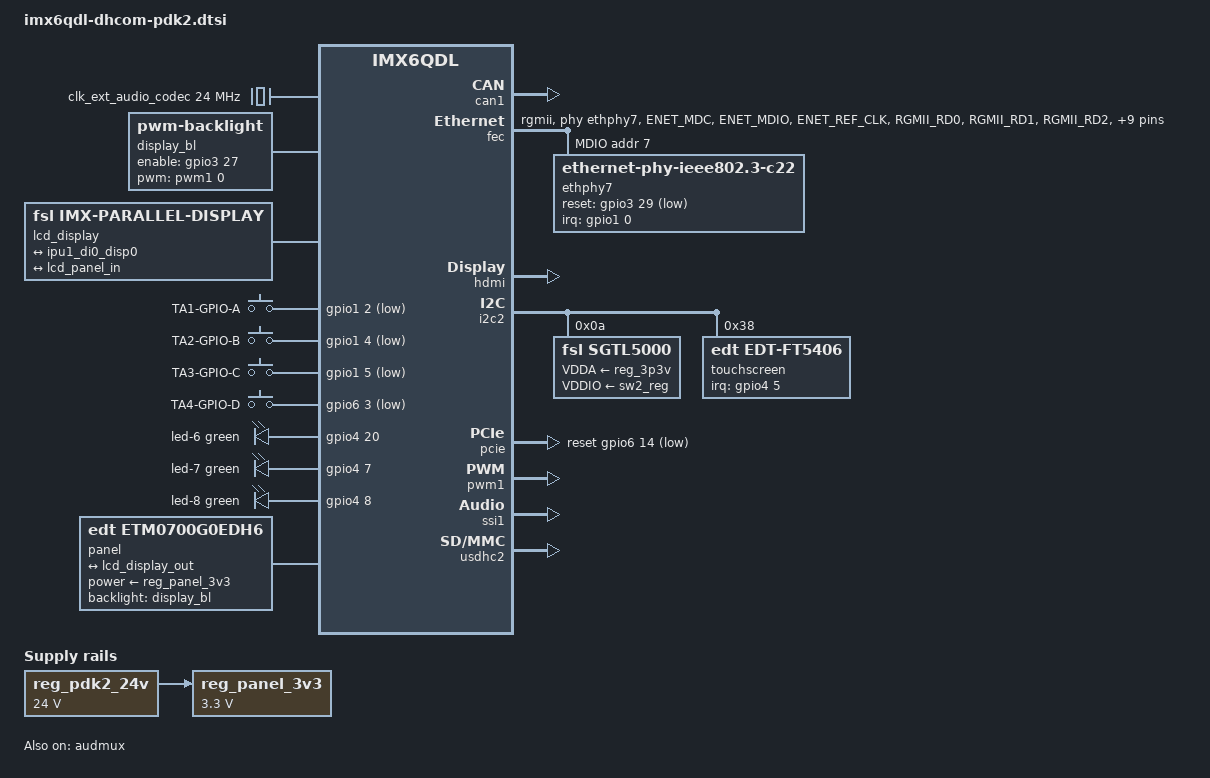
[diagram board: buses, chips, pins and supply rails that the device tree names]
// SPDX-License-Identifier: GPL-2.0+
/*
 * Copyright (C) 2015-2021 DH electronics GmbH
 * Copyright (C) 2018 Marek Vasut <marex@denx.de>
 */

#include <dt-bindings/gpio/gpio.h>
#include <dt-bindings/input/input.h>
#include <dt-bindings/leds/common.h>
#include <dt-bindings/pwm/pwm.h>

/ {
	chosen {
		stdout-path = "serial0:115200n8";
	};

	clk_ext_audio_codec: clock-codec {
		#clock-cells = <0>;
		clock-frequency = <24000000>;
		compatible = "fixed-clock";
	};

	display_bl: display-bl {
		brightness-levels = <0 16 22 30 40 55 75 102 138 188 255>;
		compatible = "pwm-backlight";
		default-brightness-level = <8>;
		enable-gpios = <&gpio3 27 GPIO_ACTIVE_HIGH>; /* GPIO G */
		pwms = <&pwm1 0 50000 PWM_POLARITY_INVERTED>;
		status = "okay";
	};

	lcd_display: disp0 {
		#address-cells = <1>;
		#size-cells = <0>;
		compatible = "fsl,imx-parallel-display";
		interface-pix-fmt = "rgb24";
		pinctrl-0 = <&pinctrl_ipu1_lcdif &pinctrl_dhcom_g>;
		pinctrl-names = "default";
		status = "okay";

		port@0 {
			reg = <0>;

			lcd_display_in: endpoint {
				remote-endpoint = <&ipu1_di0_disp0>;
			};
		};

		port@1 {
			reg = <1>;

			lcd_display_out: endpoint {
				remote-endpoint = <&lcd_panel_in>;
			};
		};
	};

	gpio-keys {
		compatible = "gpio-keys";

		button-0 {
			gpios = <&gpio1 2 GPIO_ACTIVE_LOW>; /* GPIO A */
			label = "TA1-GPIO-A";
			linux,code = <KEY_A>;
			pinctrl-0 = <&pinctrl_dhcom_a>;
			pinctrl-names = "default";
			wakeup-source;
		};

		button-1 {
			gpios = <&gpio1 4 GPIO_ACTIVE_LOW>; /* GPIO B */
			label = "TA2-GPIO-B";
			linux,code = <KEY_B>;
			pinctrl-0 = <&pinctrl_dhcom_b>;
			pinctrl-names = "default";
			wakeup-source;
		};

		button-2 {
			gpios = <&gpio1 5 GPIO_ACTIVE_LOW>; /* GPIO C */
			label = "TA3-GPIO-C";
			linux,code = <KEY_C>;
			pinctrl-0 = <&pinctrl_dhcom_c>;
			pinctrl-names = "default";
			wakeup-source;
		};

		button-3 {
			gpios = <&gpio6 3 GPIO_ACTIVE_LOW>; /* GPIO D */
			label = "TA4-GPIO-D";
			linux,code = <KEY_D>;
			pinctrl-0 = <&pinctrl_dhcom_d>;
			pinctrl-names = "default";
			wakeup-source;
		};
	};

	led {
		compatible = "gpio-leds";

		/*
		 * Disable led-5, because GPIO E is
		 * already used as touch interrupt.
		 */
		led-5 {
			color = <LED_COLOR_ID_GREEN>;
			default-state = "off";
			function = LED_FUNCTION_INDICATOR;
			gpios = <&gpio4 5 GPIO_ACTIVE_HIGH>; /* GPIO E */
			pinctrl-0 = <&pinctrl_dhcom_e>;
			pinctrl-names = "default";
			status = "disabled";
		};

		led-6 {
			color = <LED_COLOR_ID_GREEN>;
			default-state = "off";
			function = LED_FUNCTION_INDICATOR;
			gpios = <&gpio4 20 GPIO_ACTIVE_HIGH>; /* GPIO F */
			pinctrl-0 = <&pinctrl_dhcom_f>;
			pinctrl-names = "default";
		};

		led-7 {
			color = <LED_COLOR_ID_GREEN>;
			default-state = "off";
			function = LED_FUNCTION_INDICATOR;
			gpios = <&gpio4 7 GPIO_ACTIVE_HIGH>; /* GPIO H */
			pinctrl-0 = <&pinctrl_dhcom_h>;
			pinctrl-names = "default";
		};

		led-8 {
			color = <LED_COLOR_ID_GREEN>;
			default-state = "off";
			function = LED_FUNCTION_INDICATOR;
			gpios = <&gpio4 8 GPIO_ACTIVE_HIGH>; /* GPIO I */
			pinctrl-0 = <&pinctrl_dhcom_i>;
			pinctrl-names = "default";
		};
	};

	panel {
		backlight = <&display_bl>;
		compatible = "edt,etm0700g0edh6";
		power-supply = <&reg_panel_3v3>;

		port {
			lcd_panel_in: endpoint {
				remote-endpoint = <&lcd_display_out>;
			};
		};
	};

	/* Filtered supply voltage */
	reg_pdk2_24v: regulator-pdk2-24v {
		compatible = "regulator-fixed";
		regulator-always-on;
		regulator-max-microvolt = <24000000>;
		regulator-min-microvolt = <24000000>;
		regulator-name = "24V_PDK2";
	};

	/* 560-200 U1 */
	reg_panel_3v3: regulator-panel-3v3 {
		compatible = "regulator-fixed";
		regulator-always-on;
		regulator-min-microvolt = <3300000>;
		regulator-max-microvolt = <3300000>;
		regulator-name = "3V3_PANEL";
		vin-supply = <&reg_pdk2_24v>;
	};

	sound {
		audio-codec = <&sgtl5000>;
		audio-routing =
			"MIC_IN", "Mic Jack",
			"Mic Jack", "Mic Bias",
			"LINE_IN", "Line In Jack",
			"Headphone Jack", "HP_OUT";
		compatible = "fsl,imx-audio-sgtl5000";
		model = "imx-sgtl5000";
		mux-ext-port = <3>;
		mux-int-port = <1>;
		ssi-controller = <&ssi1>;
	};
};

&audmux {
	pinctrl-0 = <&pinctrl_audmux_ext>;
	pinctrl-names = "default";
	status = "okay";
};

&can1 {
	status = "okay";
};

&can2 {
	status = "disabled";
};

/* 1G ethernet */
/delete-node/ &ethphy0;
&fec {
	phy-mode = "rgmii";
	phy-handle = <&ethphy7>;
	pinctrl-0 = <&pinctrl_enet_1G>;
	pinctrl-names = "default";
	status = "okay";

	mdio {
		#address-cells = <1>;
		#size-cells = <0>;

		ethphy7: ethernet-phy@7 { /* KSZ 9021 */
			compatible = "ethernet-phy-ieee802.3-c22";
			interrupt-parent = <&gpio1>;
			interrupts = <0 IRQ_TYPE_LEVEL_LOW>;
			pinctrl-0 = <&pinctrl_ethphy7>;
			pinctrl-names = "default";
			reg = <7>;
			reset-assert-us = <1000>;
			reset-deassert-us = <1000>;
			reset-gpios = <&gpio3 29 GPIO_ACTIVE_LOW>;
			rxc-skew-ps = <3000>;
			rxd0-skew-ps = <0>;
			rxd1-skew-ps = <0>;
			rxd2-skew-ps = <0>;
			rxd3-skew-ps = <0>;
			rxdv-skew-ps = <0>;
			txc-skew-ps = <3000>;
			txd0-skew-ps = <0>;
			txd1-skew-ps = <0>;
			txd2-skew-ps = <0>;
			txd3-skew-ps = <0>;
			txen-skew-ps = <0>;
		};
	};
};

&hdmi {
	ddc-i2c-bus = <&i2c2>;
	status = "okay";
};

&i2c2 {
	sgtl5000: codec@a {
		#sound-dai-cells = <0>;
		clocks = <&clk_ext_audio_codec>;
		compatible = "fsl,sgtl5000";
		reg = <0x0a>;
		VDDA-supply = <&reg_3p3v>;
		VDDIO-supply = <&sw2_reg>;
	};

	touchscreen@38 {
		compatible = "edt,edt-ft5406";
		interrupt-parent = <&gpio4>;
		interrupts = <5 IRQ_TYPE_EDGE_FALLING>; /* GPIO E */
		pinctrl-0 = <&pinctrl_dhcom_e>;
		pinctrl-names = "default";
		reg = <0x38>;
	};
};

&ipu1_di0_disp0 {
	remote-endpoint = <&lcd_display_in>;
};

&pcie {
	pinctrl-0 = <&pinctrl_pcie &pinctrl_dhcom_j>;
	reset-gpio = <&gpio6 14 GPIO_ACTIVE_LOW>; /* GPIO J */
	status = "okay";
};

&pwm1 {
	status = "okay";
};

&ssi1 {
	status = "okay";
};

&usbh1 {
	disable-over-current;
};

&usdhc2 { /* SD card */
	status = "okay";
};

&iomuxc {
	pinctrl-0 = <
			/*
			 * The following DHCOM GPIOs are used on this board.
			 * Therefore, they have been removed from the list below.
			 * A: key TA1
			 * B: key TA2
			 * C: key TA3
			 * D: key TA4
			 * E: touchscreen
			 * F: led6
			 * G: backlight enable
			 * H: led7
			 * I: led8
			 * J: PCIe reset
			 */
			&pinctrl_hog_base
			&pinctrl_dhcom_k &pinctrl_dhcom_l
			&pinctrl_dhcom_m &pinctrl_dhcom_n &pinctrl_dhcom_o
			&pinctrl_dhcom_p &pinctrl_dhcom_q &pinctrl_dhcom_r
			&pinctrl_dhcom_s &pinctrl_dhcom_t &pinctrl_dhcom_u
			&pinctrl_dhcom_v &pinctrl_dhcom_w &pinctrl_dhcom_int
		>;
	pinctrl-names = "default";

	pinctrl_audmux_ext: audmux-ext-grp {
		fsl,pins = <
			MX6QDL_PAD_CSI0_DAT4__AUD3_TXC		0x130b0
			MX6QDL_PAD_CSI0_DAT5__AUD3_TXD		0x110b0
			MX6QDL_PAD_CSI0_DAT6__AUD3_TXFS		0x130b0
			MX6QDL_PAD_CSI0_DAT7__AUD3_RXD		0x130b0
		>;
	};

	pinctrl_enet_1G: enet-1G-grp {
		fsl,pins = <
			MX6QDL_PAD_ENET_MDC__ENET_MDC		0x100b0
			MX6QDL_PAD_ENET_MDIO__ENET_MDIO		0x100b0
			MX6QDL_PAD_ENET_REF_CLK__ENET_TX_CLK	0x100b0
			MX6QDL_PAD_RGMII_RD0__RGMII_RD0		0x1b0b0
			MX6QDL_PAD_RGMII_RD1__RGMII_RD1		0x1b0b0
			MX6QDL_PAD_RGMII_RD2__RGMII_RD2		0x1b0b0
			MX6QDL_PAD_RGMII_RD3__RGMII_RD3		0x1b0b0
			MX6QDL_PAD_RGMII_RX_CTL__RGMII_RX_CTL	0x1b0b0
			MX6QDL_PAD_RGMII_RXC__RGMII_RXC		0x1b0b0
			MX6QDL_PAD_RGMII_TD0__RGMII_TD0		0x100b0
			MX6QDL_PAD_RGMII_TD1__RGMII_TD1		0x100b0
			MX6QDL_PAD_RGMII_TD2__RGMII_TD2		0x100b0
			MX6QDL_PAD_RGMII_TD3__RGMII_TD3		0x100b0
			MX6QDL_PAD_RGMII_TX_CTL__RGMII_TX_CTL	0x100b0
			MX6QDL_PAD_RGMII_TXC__RGMII_TXC		0x100b0
		>;
	};

	pinctrl_ethphy7: ethphy7-grp {
		fsl,pins = <
			MX6QDL_PAD_EIM_D26__GPIO3_IO26		0xb1 /* WOL */
			MX6QDL_PAD_EIM_D29__GPIO3_IO29		0xb0 /* Reset */
			MX6QDL_PAD_GPIO_0__GPIO1_IO00		0xb1 /* Int */
		>;
	};
};
